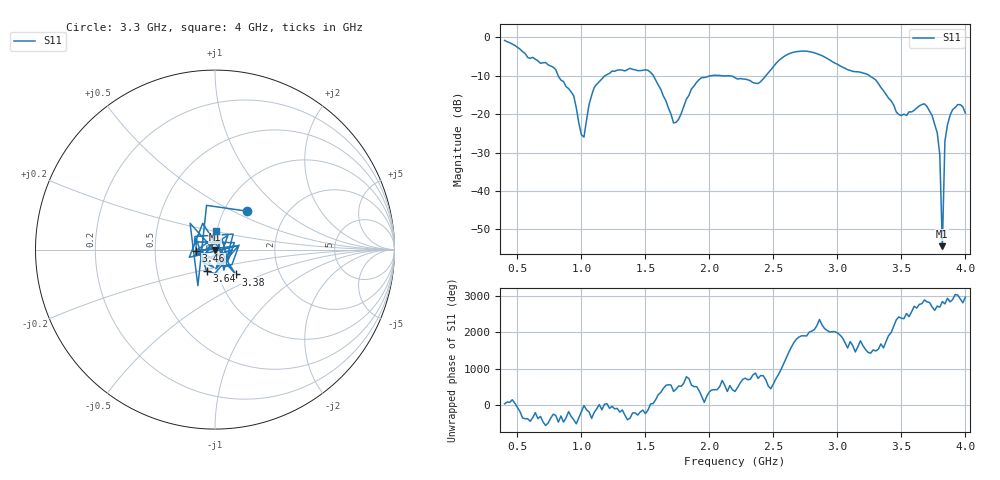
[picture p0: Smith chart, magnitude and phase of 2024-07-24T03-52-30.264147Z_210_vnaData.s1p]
!Created with skrf (http://scikit-rf.org).
# Hz S RI R 50.0
!freq ReS11 ImS11
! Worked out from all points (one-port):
!   181 points, 400 MHz to 4 GHz, reference 50 ohm
!   lowest |S11| = -54.4 dB at 3.82 GHz (marker M1), VSWR 1.00, Z = 50.2 - j0.104 ohm
!   |S11| at or under -10 dB: 818.5 MHz to 1.184 GHz (365.3 MHz wide, 36.5 % of centre); 1.563 GHz to 2.01 GHz (446.9 MHz wide, 25 % of centre); 3.252 GHz to end of sweep (the widest 3 of 5)
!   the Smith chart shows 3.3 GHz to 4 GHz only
!   S11 on the Smith chart (normalised r, x): 3.3 GHz: 1.28, +0.59; 3.38 GHz: 1.21, -0.35; 3.46 GHz: 0.81, -0.01; 3.64 GHz: 0.89, -0.21; 4 GHz: 0.99, +0.21
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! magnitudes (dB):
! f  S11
! 400 MHz  -0.8
! 860 MHz  -11.5
! 940 MHz  -15.2
! 1 GHz  -25.4
! 1.02 GHz  -26.0
! 1.1 GHz  -13.0
! 1.3 GHz  -8.5
! 1.54 GHz  -9.1
! 1.72 GHz  -22.3
! 1.76 GHz  -21.3
! 1.94 GHz  -10.5
! 2.2 GHz  -10.5
! 2.38 GHz  -12.0
! 2.66 GHz  -3.8
! 3.1 GHz  -8.6
! 3.3 GHz  -11.1
! 3.38 GHz  -14.9
! 3.46 GHz  -19.4
! 3.56 GHz  -19.4
! 3.64 GHz  -17.8
! 3.7 GHz  -18.0
! 3.78 GHz  -24.8
! 3.8 GHz  -30.6
! 3.82 GHz  -54.4
! 3.84 GHz  -27.0
! 3.86 GHz  -22.8
! 3.94 GHz  -17.5
! 4 GHz  -19.7
